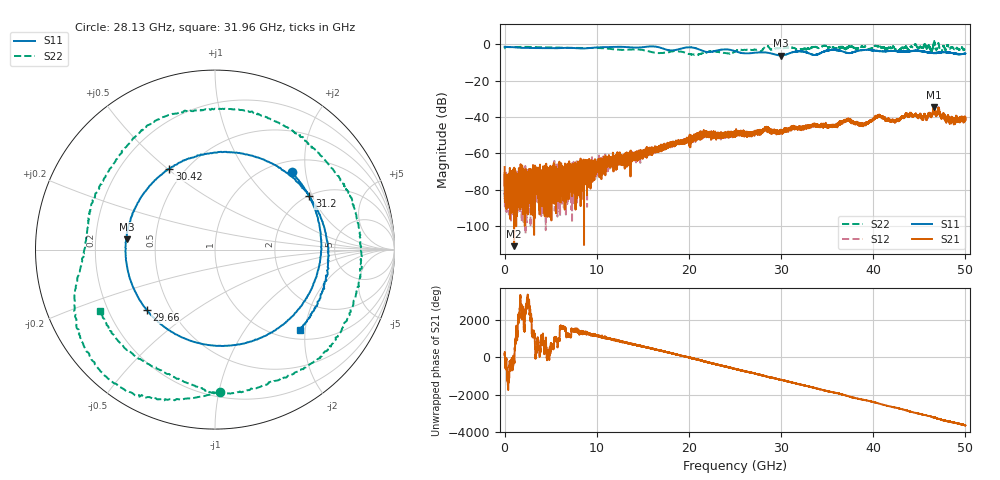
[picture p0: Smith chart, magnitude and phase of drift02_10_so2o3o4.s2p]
!Created with skrf (http://scikit-rf.org).
# Hz S RI R 50.0
!freq ReS11 ImS11 ReS21 ImS21 ReS12 ImS12 ReS22 ImS22
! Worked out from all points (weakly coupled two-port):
!   10001 points, 300 kHz to 50 GHz, reference 50 ohm
!   highest |S21| = -34.38 dB at 46.58 GHz (marker M1); lowest = -111.2 dB at 1.03 GHz (marker M2)
!   lowest |S11| = -6.1 dB at 30.02 GHz (marker M3), VSWR 2.97, Z = 16.9 + j2.56 ohm
!   |S11| at or under -10 dB: nowhere
!   |S22| runs from -5.7 to 2.2 dB; largest |S21 - S12| = 0.0034
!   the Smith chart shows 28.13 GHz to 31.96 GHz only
!   S11 on the Smith chart (normalised r, x): 28.13 GHz: 1.23, +1.68; 29.66 GHz: 0.37, -0.33; 30.42 GHz: 0.41, +0.51; 31.2 GHz: 2.03, +1.90; 31.96 GHz: 1.20, -1.87
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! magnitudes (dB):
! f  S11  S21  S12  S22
! 300 kHz  -1.3  -67.6  -70.4  -2.0
! 280.3 MHz  -1.3  -76.7  -73.3  -1.4
! 1.03 GHz  -1.6  -111.2  -72.6  -1.4
! 5 GHz  -2.1  -71.7  -81.1  -1.6
! 8.335 GHz  -2.2  -85.3  -68.6  -1.9
! 16.67 GHz  -1.5  -57.0  -55.9  -4.7
! 21.39 GHz  -3.3  -49.5  -50.8  -5.0
! 25 GHz  -3.7  -48.8  -49.4  -3.9
! 28.13 GHz  -4.4  -47.7  -46.4  -2.0
! 29.66 GHz  -5.9  -47.5  -48.9  -2.1
! 30.02 GHz  -6.1  -48.2  -47.8  -2.1
! 30.42 GHz  -5.7  -47.6  -47.3  -1.9
! 31.2 GHz  -4.4  -45.2  -46.1  -1.8
! 31.96 GHz  -3.7  -44.9  -45.9  -2.8
! 33.34 GHz  -5.5  -44.7  -44.9  -1.6
! 37.27 GHz  -4.7  -41.2  -42.1  -1.4
! 38.89 GHz  -3.1  -44.0  -44.8  -1.4
! 40.55 GHz  -3.6  -39.5  -39.7  -1.0
! 41.67 GHz  -3.6  -41.4  -41.1  -1.9
! 46.58 GHz  -4.8  -34.4  -34.8  1.7
! 48.11 GHz  -4.4  -39.7  -39.7  -0.6
! 50 GHz  -5.0  -41.4  -39.7  -2.6
